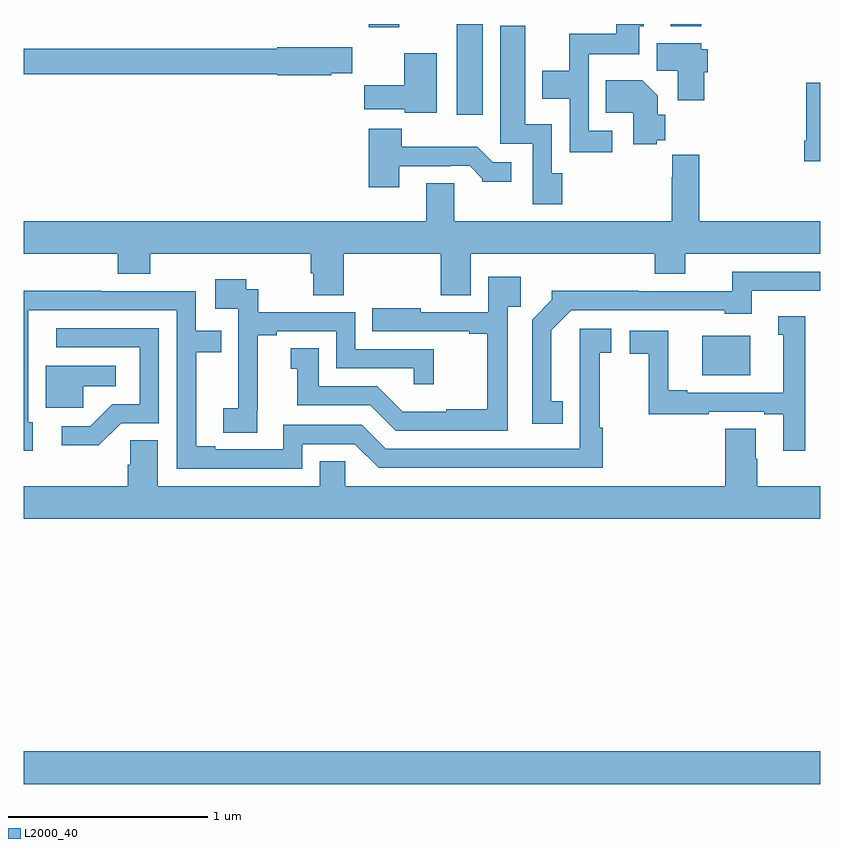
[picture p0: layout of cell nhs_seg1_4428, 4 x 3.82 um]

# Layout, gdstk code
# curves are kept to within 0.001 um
import gdstk
lib = gdstk.Library(unit=1e-6, precision=1e-09)
def R(c, l, rs):  # rectangles x0, y0, x1, y1
    for r in rs: c.add(gdstk.rectangle(r[:2], r[2:], *l))
def P(c, l, *ps):  # polygons
    for p in ps: c.add(gdstk.Polygon(p, *l))
L2000_40 = (2000, 40)

nhs_seg1_4428 = lib.new_cell('nhs_seg1_4428')
R(nhs_seg1_4428, L2000_40, [(351,570.38,355,570.544), (354.407,572.435,354.649,572.632), (353.174,573.744,353.305,574.199), (352.733,574.182,352.885,574.199), (354.251,574.187,354.404,574.199)])
P(nhs_seg1_4428, L2000_40, [(353.956,573.663),(353.838,573.663),(353.838,574.046),(354.091,574.046),(354.091,574.188),(354.115,574.188),(354.115,574.199),(353.975,574.199),(353.975,574.15),(353.74,574.15),(353.74,573.964),(353.603,573.964),(353.603,573.824),(353.742,573.824),(353.742,573.555),(353.956,573.555)],
  [(353.705,573.45),(353.652,573.45),(353.652,573.694),(353.518,573.694),(353.518,574.189),(353.393,574.189),(353.393,573.597),(353.556,573.597),(353.556,573.294),(353.705,573.294)],
  [(354.419,573.957),(354.437,573.957),(354.437,574.071),(354.402,574.071),(354.402,574.102),(354.179,574.102),(354.179,573.964),(354.284,573.964),(354.284,573.816),(354.419,573.816)],
  [(352.544,573.951),(352.65,573.951),(352.65,574.083),(352.272,574.083),(352.272,574.075),(351,574.075),(351,573.946),(352.272,573.946),(352.272,573.941),(352.544,573.941)],
  [(353.074,574.051),(352.91,574.051),(352.91,573.89),(352.71,573.89),(352.71,573.77),(352.914,573.77),(352.914,573.752),(353.074,573.752)],
  [(354.18,573.614),(354.223,573.614),(354.223,573.742),(354.184,573.742),(354.184,573.838),(354.106,573.916),(353.923,573.916),(353.923,573.752),(354.062,573.752),(354.062,573.595),(354.18,573.595)],
  [(355,573.904),(354.932,573.904),(354.932,573.613),(354.92,573.613),(354.92,573.509),(355,573.509)],
  [(352.885,573.483),(353.141,573.483),(353.141,573.486),(353.24,573.486),(353.304,573.422),(353.304,573.407),(353.449,573.407),(353.449,573.504),(353.355,573.504),(353.277,573.583),(352.898,573.583),(352.898,573.673),(352.733,573.673),(352.733,573.378),(352.885,573.378)],
  [(353.021,573.208),(351,573.208),(351,573.044),(351.47,573.044),(351.47,572.945),(351.635,572.945),(351.635,573.044),(352.442,573.044),(352.442,572.946),(352.454,572.946),(352.454,572.836),(352.607,572.836),(352.607,573.044),(353.093,573.044),(353.093,572.836),(353.245,572.836),(353.245,573.044),(354.17,573.044),(354.17,572.945),(354.322,572.945),(354.322,573.044),(355,573.044),(355,573.208),(354.392,573.208),(354.392,573.541),(354.257,573.541),(354.257,573.428),(354.256,573.428),(354.256,573.208),(353.161,573.208),(353.161,573.398),(353.021,573.398)],
  [(353.708,572.303),(353.65,572.303),(353.65,572.659),(353.751,572.76),(354.522,572.76),(354.522,572.744),(354.658,572.744),(354.658,572.859),(355,572.859),(355,572.955),(354.559,572.955),(354.559,572.856),(354.086,572.856),(354.086,572.858),(353.652,572.858),(353.652,572.813),(353.553,572.714),(353.553,572.19),(353.708,572.19)],
  [(353.43,572.777),(353.495,572.777),(353.495,572.929),(353.334,572.929),(353.334,572.751),(352.993,572.751),(352.993,572.77),(352.75,572.77),(352.75,572.655),(353.237,572.655),(353.237,572.643),(353.329,572.643),(353.329,572.263),(353.123,572.263),(353.123,572.251),(352.904,572.251),(352.776,572.379),(352.48,572.379),(352.48,572.57),(352.34,572.57),(352.34,572.467),(352.373,572.467),(352.373,572.283),(352.74,572.283),(352.869,572.154),(353.43,572.154)],
  [(352.172,572.257),(352.174,572.257),(352.174,572.635),(352.27,572.635),(352.27,572.655),(352.569,572.655),(352.569,572.469),(352.959,572.469),(352.959,572.388),(353.06,572.388),(353.06,572.565),(352.665,572.565),(352.665,572.751),(352.178,572.751),(352.178,572.865),(352.116,572.865),(352.116,572.917),(351.96,572.917),(351.96,572.769),(352.077,572.769),(352.077,572.465),(352.076,572.465),(352.076,572.268),(352.002,572.268),(352.002,572.146),(352.172,572.146)],
  [(352.398,572.088),(352.662,572.088),(352.782,571.968),(353.909,571.968),(353.909,572.171),(353.892,572.171),(353.892,572.547),(353.95,572.547),(353.95,572.668),(353.792,572.668),(353.793,572.064),(352.818,572.064),(352.698,572.184),(352.302,572.184),(352.302,572.061),(351.961,572.061),(351.961,572.076),(351.865,572.076),(351.865,572.55),(351.992,572.55),(351.992,572.658),(351.864,572.658),(351.864,572.856),(351.386,572.856),(351.386,572.858),(351,572.858),(351,572.055),(351.043,572.055),(351.043,572.199),(351.021,572.199),(351.021,572.76),(351.768,572.76),(351.768,571.965),(352.398,571.965)],
  [(354.925,572.731),(354.791,572.731),(354.791,572.637),(354.815,572.637),(354.815,572.346),(354.334,572.346),(354.334,572.359),(354.238,572.359),(354.238,572.658),(354.045,572.658),(354.045,572.542),(354.139,572.542),(354.139,572.238),(354.44,572.238),(354.44,572.25),(354.719,572.25),(354.719,572.238),(354.815,572.238),(354.815,572.055),(354.925,572.055)],
  [(351.489,572.193),(351.678,572.193),(351.678,572.67),(351.162,572.67),(351.162,572.574),(351.582,572.574),(351.582,572.289),(351.444,572.289),(351.333,572.178),(351.189,572.178),(351.189,572.081),(351.376,572.081)],
  [(351.297,572.378),(351.46,572.378),(351.46,572.482),(351.11,572.482),(351.11,572.271),(351.297,572.271)],
  [(355,571.876),(354.684,571.876),(354.684,572.015),(354.676,572.015),(354.676,572.165),(354.524,572.165),(354.524,571.876),(352.614,571.876),(352.614,572.003),(352.487,572.003),(352.487,571.876),(351.673,571.876),(351.673,572.108),(351.534,572.108),(351.534,571.985),(351.521,571.985),(351.521,571.876),(351,571.876),(351,571.712),(355,571.712)])

lib.write_gds('nhs_seg1_4428.gds')
